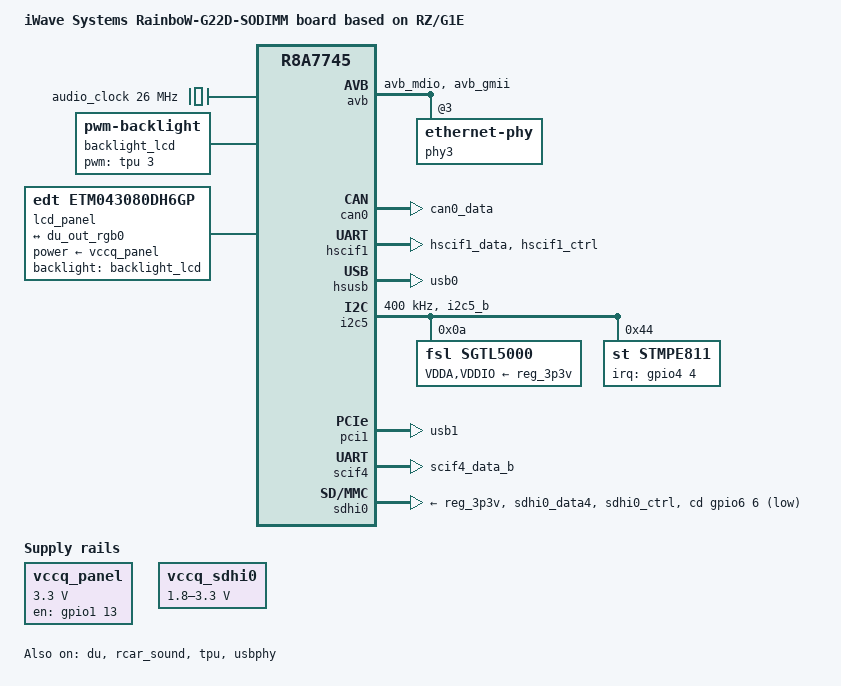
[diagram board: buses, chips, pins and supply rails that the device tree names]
// SPDX-License-Identifier: GPL-2.0
/*
 * Device Tree Source for the iWave-RZG1E SODIMM carrier board
 *
 * Copyright (C) 2017 Renesas Electronics Corp.
 */

/*
 * SSI-SGTL5000
 *
 * This command is required when Playback/Capture
 *
 *      amixer set "DVC Out" 100%
 *      amixer set "DVC In" 100%
 *
 * You can use Mute
 *
 *      amixer set "DVC Out Mute" on
 *      amixer set "DVC In Mute" on
 *
 * You can use Volume Ramp
 *
 *      amixer set "DVC Out Ramp Up Rate"   "0.125 dB/64 steps"
 *      amixer set "DVC Out Ramp Down Rate" "0.125 dB/512 steps"
 *      amixer set "DVC Out Ramp" on
 *      aplay xxx.wav &
 *      amixer set "DVC Out"  80%  // Volume Down
 *      amixer set "DVC Out" 100%  // Volume Up
 */

/dts-v1/;
#include "r8a7745-iwg22m.dtsi"
#include <dt-bindings/pwm/pwm.h>

/ {
	model = "iWave Systems RainboW-G22D-SODIMM board based on RZ/G1E";
	compatible = "iwave,g22d", "iwave,g22m", "renesas,r8a7745";

	aliases {
		ethernet0 = &avb;
		serial3 = &scif4;
		serial5 = &hscif1;
	};

	chosen {
		bootargs = "ignore_loglevel rw root=/dev/nfs ip=on";
		stdout-path = "serial3:115200n8";
	};

	audio_clock: audio_clock {
		compatible = "fixed-clock";
		#clock-cells = <0>;
		clock-frequency = <26000000>;
	};

	backlight_lcd: backlight {
		compatible = "pwm-backlight";
		pwms = <&tpu 3 5000000 PWM_POLARITY_INVERTED>;
		brightness-levels = <0 4 8 16 32 64 128 255>;
		default-brightness-level = <7>;
	};

	lcd_panel: lcd {
		compatible = "edt,etm043080dh6gp";
		power-supply = <&vccq_panel>;
		backlight = <&backlight_lcd>;

		port {
			lcd_in: endpoint {
				remote-endpoint = <&du_out_rgb0>;
			};
		};
	};

	vccq_panel: regulator-vccq-panel {
		compatible = "regulator-fixed";
		regulator-name = "Panel VccQ";
		regulator-min-microvolt = <3300000>;
		regulator-max-microvolt = <3300000>;
		gpio = <&gpio1 13 GPIO_ACTIVE_LOW>;
		enable-active-high;
	};

	vccq_sdhi0: regulator-vccq-sdhi0 {
		compatible = "regulator-gpio";

		regulator-name = "SDHI0 VccQ";
		regulator-min-microvolt = <1800000>;
		regulator-max-microvolt = <3300000>;

		gpios = <&gpio0 20 GPIO_ACTIVE_LOW>;
		gpios-states = <1>;
		states = <3300000 1>, <1800000 0>;
	};

	rsnd_sgtl5000: sound {
		compatible = "simple-audio-card";
		simple-audio-card,format = "i2s";
		simple-audio-card,bitclock-master = <&sndcodec>;
		simple-audio-card,frame-master = <&sndcodec>;

		sndcpu: simple-audio-card,cpu {
			sound-dai = <&rcar_sound>;
		};

		sndcodec: simple-audio-card,codec {
			sound-dai = <&sgtl5000>;
		};
	};
};

&avb {
	pinctrl-0 = <&avb_pins>;
	pinctrl-names = "default";

	phy-handle = <&phy3>;
	phy-mode = "gmii";
	renesas,no-ether-link;
	status = "okay";

	phy3: ethernet-phy@3 {
	/*
	 * On some older versions of the platform (before R4.0) the phy address
	 * may be 1 or 3. The address is fixed to 3 for R4.0 onwards.
	 */
		reg = <3>;
		micrel,led-mode = <1>;
	};
};

&can0 {
	pinctrl-0 = <&can0_pins>;
	pinctrl-names = "default";

	status = "okay";
};

&du {
	pinctrl-0 = <&du0_pins>;
	pinctrl-names = "default";

	status = "okay";

	ports {
		port@0 {
			endpoint {
				remote-endpoint = <&lcd_in>;
			};
		};
	};
};

&hscif1 {
	pinctrl-0 = <&hscif1_pins>;
	pinctrl-names = "default";

	uart-has-rtscts;
	status = "okay";
};

&hsusb {
	status = "okay";
	pinctrl-0 = <&usb0_pins>;
	pinctrl-names = "default";
};

&i2c5 {
	pinctrl-0 = <&i2c5_pins>;
	pinctrl-names = "default";

	status = "okay";
	clock-frequency = <400000>;

	sgtl5000: codec@a {
		compatible = "fsl,sgtl5000";
		#sound-dai-cells = <0>;
		reg = <0x0a>;
		clocks = <&audio_clock>;
		VDDA-supply = <&reg_3p3v>;
		VDDIO-supply = <&reg_3p3v>;
	};

	stmpe811@44 {
		compatible = "st,stmpe811";
		reg = <0x44>;
		interrupt-parent = <&gpio4>;
		interrupts = <4 IRQ_TYPE_LEVEL_LOW>;

		/* 3.25 MHz ADC clock speed */
		st,adc-freq = <1>;
		/* ADC conversion time: 80 clocks */
		st,sample-time = <4>;
		/* 12-bit ADC */
		st,mod-12b = <1>;
		/* internal ADC reference */
		st,ref-sel = <0>;

		stmpe_touchscreen {
			compatible = "st,stmpe-ts";
			/* 8 sample average control */
			st,ave-ctrl = <3>;
			/* 7 length fractional part in z */
			st,fraction-z = <7>;
			/*
			 * 50 mA typical 80 mA max touchscreen drivers
			 * current limit value
			 */
			st,i-drive = <1>;
			/* 1 ms panel driver settling time */
			st,settling = <3>;
			/* 5 ms touch detect interrupt delay */
			st,touch-det-delay = <5>;
		};
	};
};

&pci1 {
	status = "okay";
	pinctrl-0 = <&usb1_pins>;
	pinctrl-names = "default";
};

&pfc {
	avb_pins: avb {
		groups = "avb_mdio", "avb_gmii";
		function = "avb";
	};

	backlight_pins: backlight {
		groups = "tpu_to3_c";
		function = "tpu";
	};

	can0_pins: can0 {
		groups = "can0_data";
		function = "can0";
	};

	du0_pins: du0 {
		groups = "du0_rgb666", "du0_sync", "du0_disp", "du0_clk0_out";
		function = "du0";
	};

	hscif1_pins: hscif1 {
		groups = "hscif1_data", "hscif1_ctrl";
		function = "hscif1";
	};

	i2c5_pins: i2c5 {
		groups = "i2c5_b";
		function = "i2c5";
	};

	scif4_pins: scif4 {
		groups = "scif4_data_b";
		function = "scif4";
	};

	sdhi0_pins: sd0 {
		groups = "sdhi0_data4", "sdhi0_ctrl";
		function = "sdhi0";
		power-source = <3300>;
	};

	sound_pins: sound {
		groups = "ssi34_ctrl", "ssi3_data", "ssi4_data";
		function = "ssi";
	};

	usb0_pins: usb0 {
		groups = "usb0";
		function = "usb0";
	};

	usb1_pins: usb1 {
		groups = "usb1";
		function = "usb1";
	};
};

&rcar_sound {
	pinctrl-0 = <&sound_pins>;
	pinctrl-names = "default";
	status = "okay";

	/* Single DAI */

	#sound-dai-cells = <0>;

	rcar_sound,dai {
		dai0 {
			playback = <&ssi3 &src3 &dvc0>;
			capture = <&ssi4 &src4 &dvc1>;
		};
	};
};

&scif4 {
	pinctrl-0 = <&scif4_pins>;
	pinctrl-names = "default";

	status = "okay";
};

&sdhi0 {
	pinctrl-0 = <&sdhi0_pins>;
	pinctrl-names = "default";

	vmmc-supply = <&reg_3p3v>;
	vqmmc-supply = <&vccq_sdhi0>;
	cd-gpios = <&gpio6 6 GPIO_ACTIVE_LOW>;
	status = "okay";
};

&ssi4 {
	shared-pin;
};

&tpu {
	pinctrl-0 = <&backlight_pins>;
	pinctrl-names = "default";
	status = "okay";
};

&usbphy {
	status = "okay";
};
